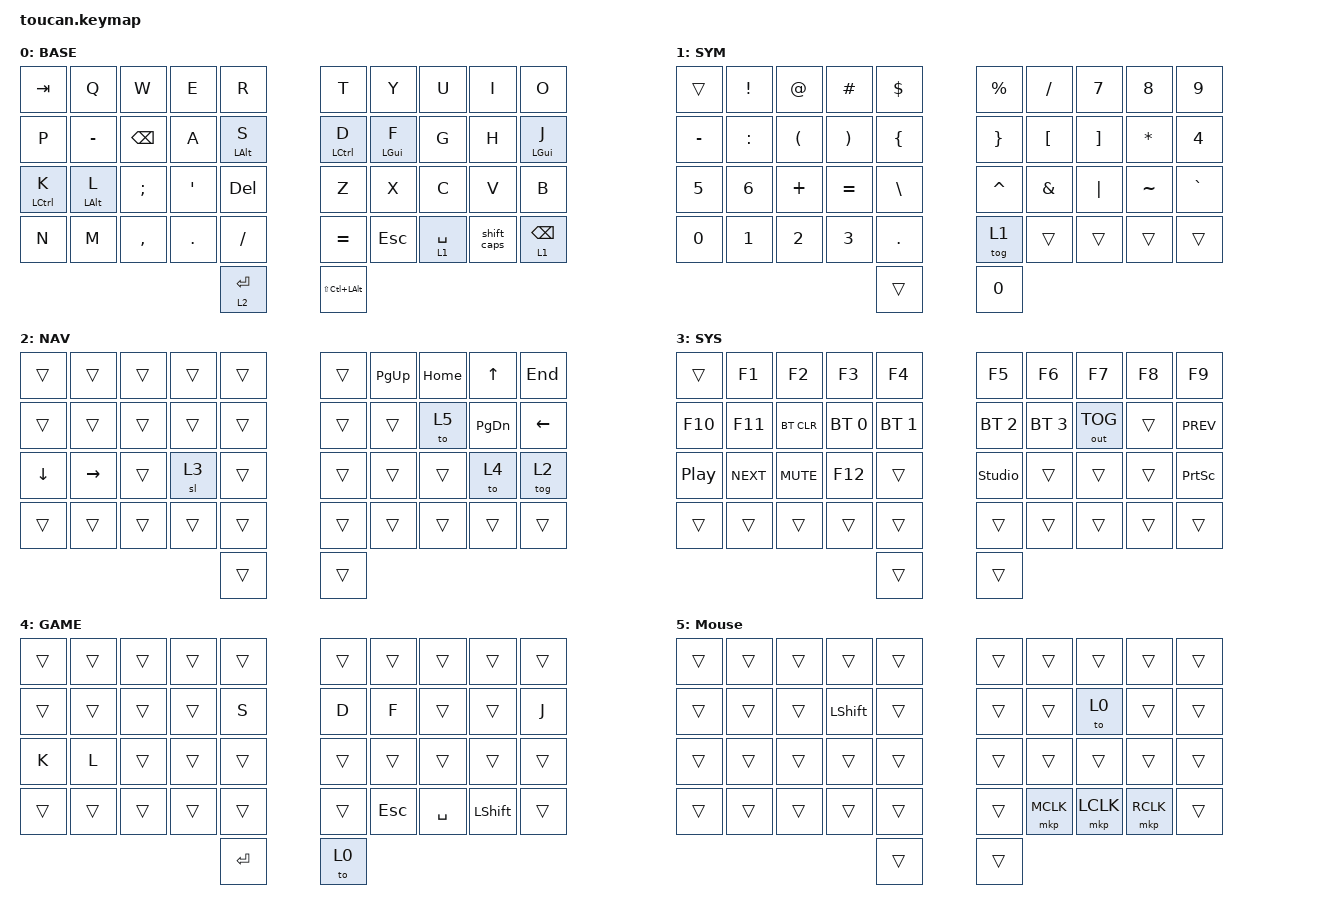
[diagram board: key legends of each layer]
#include <behaviors.dtsi>
#include <dt-bindings/zmk/keys.h>
#include <dt-bindings/zmk/bt.h>
#include <dt-bindings/zmk/outputs.h>
#include <dt-bindings/zmk/pointing.h>

#define BASE 0
#define GAME 1
#define SYM  2
#define NAV  3
#define SYS  4

#define KEYS_L 0 1 2 3 4 5		12 13 14 15 16 17		24 25 26 27 28 29
#define KEYS_R 6 7 8 9 10 11	18 19 20 21 22 23		30 31 32 33 34 35
#define THUMB_L 36 37 38
#define THUMB_R 39 40 41
#define KEYS_T THUMB_L THUMB_R

&sl {
    release-after-ms = <2000>;
};

/ {
    behaviors {
        shift_caps: shift_caps {
            compatible = "zmk,behavior-tap-dance";
            #binding-cells = <0>;
            tapping-term-ms = <200>;
            bindings = <&kp LSHFT>, <&kp CAPS>;
        };
        hrm: home_row_mod {
            compatible = "zmk,behavior-hold-tap";
            #binding-cells = <2>;
            flavor = "balanced";
            require-prior-idle-ms = <150>;
            tapping-term-ms = <280>;
            quick-tap-ms = <175>;
            bindings = <&kp>, <&kp>;
            hold-trigger-on-release;
        };
        lhr: left_home_row_mod {
            compatible = "zmk,behavior-hold-tap";
            #binding-cells = <2>;
            flavor = "balanced";
            require-prior-idle-ms = <150>;
            tapping-term-ms = <280>;
            quick-tap-ms = <175>;
            bindings = <&kp>, <&kp>;
            hold-trigger-on-release;
    		hold-trigger-key-positions = <KEYS_L KEYS_T>;
        };
        rhr: right_home_row_mod {
            compatible = "zmk,behavior-hold-tap";
            #binding-cells = <2>;
            flavor = "balanced";
            require-prior-idle-ms = <150>;
            tapping-term-ms = <280>;
            quick-tap-ms = <175>;
            bindings = <&kp>, <&kp>;
            hold-trigger-on-release;
    		hold-trigger-key-positions = <KEYS_R KEYS_T>;
        };
    };

    keymap {
        compatible = "zmk,keymap";

        base {
            display-name = "BASE";
            bindings = <
                &kp TAB   &kp Q &kp W &kp E &kp R &kp T   &kp Y &kp U  &kp I     &kp O   &kp P    &kp MINUS
                &kp BSPC &kp A &lhr LALT S &lhr LCTRL D &lhr LGUI F &kp G   &kp H &rhr LGUI J  &rhr LCTRL K     &rhr LALT L   &kp SEMI &kp SQT
                &kp DEL &kp Z &kp X &kp C &kp V &kp B   &kp N &kp M  &kp COMMA &kp DOT &kp FSLH &kp EQUAL
                                &kp ESC &lt 1 SPACE &shift_caps   &lt 1 BSPC &lt 2 RET &kp LS(LC(LALT))
            >;
        };

        Sym_Pad {
            display-name = "SYM";
            bindings = <
                &trans     &kp EXCL          &kp AT       &kp HASH       &kp DLLR       &kp PRCNT         &kp FSLH   &kp N7   &kp N8 &kp N9    &kp MINUS &kp COLON
                &kp LPAR  &kp RPAR    &kp LBRC &kp RBRC &kp LBKT &kp RBKT   &kp STAR &kp N4 &kp N5 &kp N6 &kp PLUS &kp EQUAL
                &kp BSLH   &kp CARET  &kp AMPS       &kp PIPE       &kp TILDE       &kp GRAVE         &kp N0   &kp N1   &kp N2 &kp N3    &kp DOT &tog 1
                                                &trans     &trans       &trans      &trans  &trans   &kp N0
            >;
        };

        Nav {
            display-name = "NAV";
            bindings = <
                &trans   &trans &trans &trans &trans &trans   &kp PG_UP &kp HOME  &kp UP &kp END &trans &trans
                &trans &trans   &trans &trans   &trans   &to 5      &kp PG_DN &kp LEFT &kp DOWN        &kp RIGHT &trans &sl 3
                &trans &trans   &trans &trans   &to 4   &tog 2      &trans &trans  &trans        &trans &trans &trans
                                          &trans &trans   &trans   &trans   &trans    &trans
            >;
        };

        Sys {
            display-name = "SYS";
            bindings = <
                &trans &kp F1 &kp F2 &kp F3 &kp F4 &kp F5 &kp F6 &kp F7 &kp F8 &kp F9
                &kp F10 &kp F11 &bt BT_CLR &bt BT_SEL 0 &bt BT_SEL 1 &bt BT_SEL 2 &bt BT_SEL 3 &out OUT_TOG &trans &kp C_PREV
                &kp C_PP &kp C_NEXT &kp C_MUTE &kp F12 &trans &studio_unlock &trans &trans &trans &kp PSCRN
                &trans &trans &trans &trans &trans &trans &trans &trans &trans &trans
                &trans &trans
            >;
        };

        Gaming {
            display-name = "GAME";
            bindings = <
                &trans &trans &trans &trans &trans &trans &trans &trans &trans &trans
                &trans &trans &trans &trans &kp S &kp D &kp F &trans &trans &kp J
                &kp K &kp L &trans &trans &trans &trans &trans &trans &trans &trans
                &trans &trans &trans &trans &trans &trans &kp ESC &kp SPACE &kp LSHFT &trans
                &kp RET &to 0
            >;
        };
        Mouse {
            bindings = <
                &trans &trans &trans &trans &trans &trans &trans &trans &trans &trans
                &trans &trans &trans &kp LSHFT &trans &trans &trans &to 0 &trans &trans
                &trans &trans &trans &trans &trans &trans &trans &trans &trans &trans
                &trans &trans &trans &trans &trans &trans &mkp MCLK &mkp LCLK &mkp RCLK &trans
                &trans &trans
            >;
        };
    };
};
